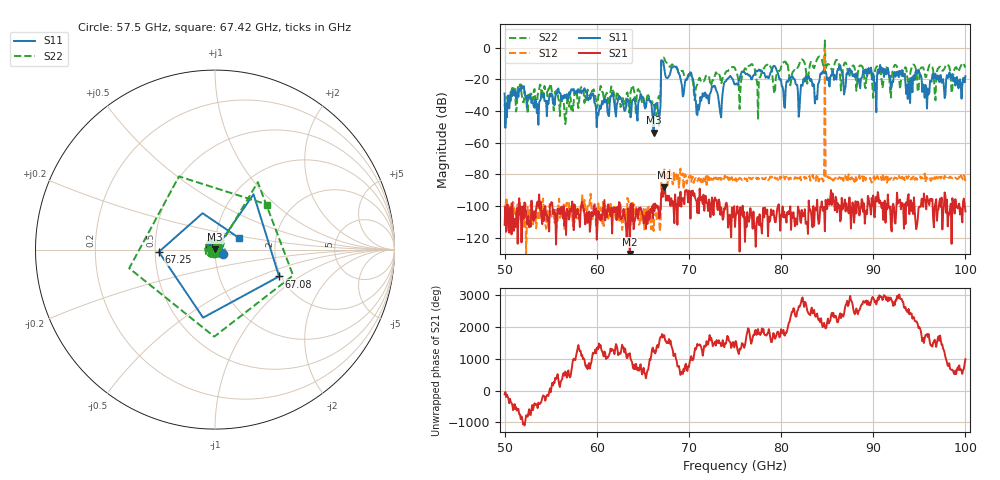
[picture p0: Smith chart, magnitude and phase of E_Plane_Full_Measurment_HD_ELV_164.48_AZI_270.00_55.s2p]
! 11/26/2026 3:44:51 PM
! C:\ANRITSUVNA\TEMP\TEMP.S2P
! CHANNEL.1
! TR.MEASUREMENT
! RAW.DATA
# HZ S RI R 50.0
! FREQ.HZ  S11RE  S11IM  S21RE  S21IM  S12RE  S12IM  S22RE  S22IM
!; PortSelection: Port_12
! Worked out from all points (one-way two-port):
!   601 points, 50 GHz to 100 GHz, reference 50 ohm
!   highest |S21| = -88.10 dB at 67.33 GHz (marker M1); lowest = -130.5 dB at 63.58 GHz (marker M2)
!   lowest |S11| = -53.8 dB at 66.17 GHz (marker M3), VSWR 1.00, Z = 50.1 + j0.15 ohm
!   |S11| at or under -10 dB: start of sweep to 67 GHz; 67.25 GHz to end of sweep
!   |S22| runs from -48.3 to 4.6 dB; largest |S21 - S12| = 0.88
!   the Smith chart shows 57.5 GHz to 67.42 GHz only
!   S11 on the Smith chart (normalised r, x): 57.5 GHz: 1.09, -0.05; 67.08 GHz: 1.95, -0.69; 67.25 GHz: 0.52, -0.02; 67.42 GHz: 1.29, +0.17
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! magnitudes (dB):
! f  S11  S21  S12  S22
! 50 GHz  -28.9  -112.0  -99.8  -35.6
! 57.5 GHz  -26.1  -115.3  -103.2  -34.6
! 58.42 GHz  -27.2  -97.4  -93.3  -24.8
! 60.17 GHz  -42.8  -103.1  -98.4  -30.4
! 63.58 GHz  -36.9  -130.5  -98.0  -37.5
! 66.17 GHz  -53.8  -98.8  -115.9  -34.0
! 66.67 GHz  -41.5  -100.9  -100.0  -31.6
! 67.08 GHz  -8.2  -88.9  -77.2  -6.8
! 67.25 GHz  -10.1  -91.5  -82.6  -6.2
! 67.33 GHz  -13.4  -88.1  -77.0  -6.9
! 67.42 GHz  -16.6  -89.8  -82.4  -8.3
! 70.25 GHz  -15.9  -90.5  -84.7  -18.8
! 70.92 GHz  -42.6  -104.5  -84.4  -23.2
! 75 GHz  -23.3  -113.3  -83.7  -12.9
! 79.25 GHz  -11.5  -106.9  -82.9  -28.9
! 80.25 GHz  -27.8  -107.2  -81.3  -9.3
! 83.42 GHz  -24.4  -113.5  -80.3  -10.8
! 84.5 GHz  -15.2  -102.9  -82.9  -9.2
! 91.67 GHz  -16.6  -99.7  -83.6  -15.2
! 94.83 GHz  -15.1  -108.3  -82.5  -27.9
! 95.83 GHz  -38.4  -93.7  -82.1  -16.5
! 100 GHz  -18.0  -103.4  -84.3  -12.6
